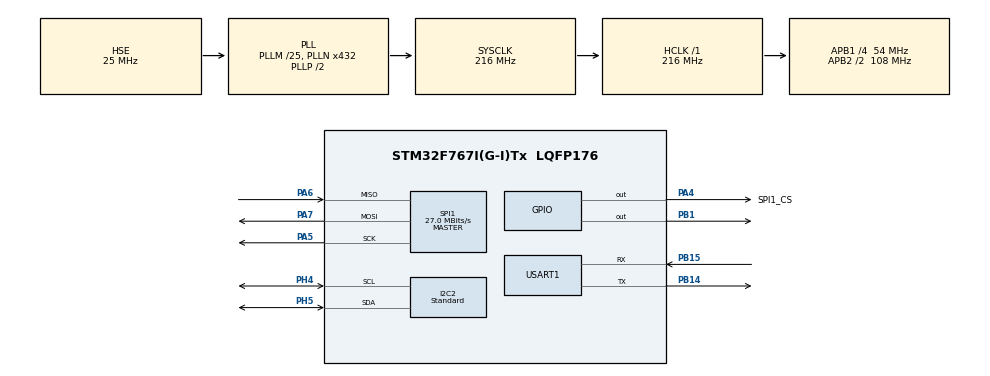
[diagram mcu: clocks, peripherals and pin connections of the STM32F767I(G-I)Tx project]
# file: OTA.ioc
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Dma.Request0=USART1_RX
Dma.USART1_RX.0.Direction=DMA_PERIPH_TO_MEMORY
Dma.USART1_RX.0.FIFOMode=DMA_FIFOMODE_DISABLE
Dma.USART1_RX.0.Instance=DMA2_Stream2
Dma.USART1_RX.0.MemDataAlignment=DMA_MDATAALIGN_BYTE
Dma.USART1_RX.0.MemInc=DMA_MINC_ENABLE
Dma.USART1_RX.0.Mode=DMA_NORMAL
Dma.USART1_RX.0.PeriphDataAlignment=DMA_PDATAALIGN_BYTE
Dma.USART1_RX.0.PeriphInc=DMA_PINC_DISABLE
Dma.USART1_RX.0.Priority=DMA_PRIORITY_LOW
I2C2.Analog_Filter=I2C_ANALOGFILTER_ENABLE
I2C2.I2C_Fall_Time=300
I2C2.I2C_Rise_Time=1000
I2C2.I2C_Speed_Mode=I2C_Standard
I2C2.Timing=0x40D32A31
Mcu.Family=STM32F7
Mcu.Name=STM32F767I(G-I)Tx
Mcu.Package=LQFP176
NVIC.DMA2_Stream2_IRQn=true\:0\:0\:false\:false\:true\:false\:true\:true
NVIC.PriorityGroup=NVIC_PRIORITYGROUP_4
NVIC.USART1_IRQn=true\:0\:0\:false\:false\:true\:true\:true\:true
PA13.Mode=Serial_Wire
PA13.Signal=SYS_JTMS-SWDIO
PA14.Mode=Serial_Wire
PA14.Signal=SYS_JTCK-SWCLK
PA4.GPIO_Label=SPI1_CS
PA4.GPIO_ModeDefaultOutputPP=GPIO_MODE_OUTPUT_PP
PA4.GPIO_PuPd=GPIO_NOPULL
PA4.GPIO_Speed=GPIO_SPEED_FREQ_VERY_HIGH
PA4.PinState=GPIO_PIN_SET
PA4.Signal=GPIO_Output
PA5.Mode=Full_Duplex_Master
PA5.Signal=SPI1_SCK
PA6.Mode=Full_Duplex_Master
PA6.Signal=SPI1_MISO
PA7.Mode=Full_Duplex_Master
PA7.Signal=SPI1_MOSI
PB1.Signal=GPIO_Output
PB14.Mode=Asynchronous
PB14.Signal=USART1_TX
PB15.Mode=Asynchronous
PB15.Signal=USART1_RX
PC14/OSC32_IN.Mode=LSE-External-Oscillator
PC14/OSC32_IN.Signal=RCC_OSC32_IN
PC15/OSC32_OUT.Mode=LSE-External-Oscillator
PC15/OSC32_OUT.Signal=RCC_OSC32_OUT
PH0/OSC_IN.Mode=HSE-External-Oscillator
PH0/OSC_IN.Signal=RCC_OSC_IN
PH1/OSC_OUT.Mode=HSE-External-Oscillator
PH1/OSC_OUT.Signal=RCC_OSC_OUT
PH4.GPIO_Pu=GPIO_PULLUP
PH4.Mode=I2C
PH4.Signal=I2C2_SCL
PH5.GPIO_Pu=GPIO_PULLUP
PH5.Mode=I2C
PH5.Signal=I2C2_SDA
ProjectManager.HeapSize=0x200
ProjectManager.StackSize=0x400
ProjectManager.TargetToolchain=MDK-ARM V5.32
RCC.AHBFreq_Value=216000000
RCC.APB1CLKDivider=RCC_HCLK_DIV4
RCC.APB1Freq_Value=54000000
RCC.APB1TimFreq_Value=108000000
RCC.APB2CLKDivider=RCC_HCLK_DIV2
RCC.APB2Freq_Value=108000000
RCC.APB2TimFreq_Value=216000000
RCC.CortexFreq_Value=216000000
RCC.HCLKFreq_Value=216000000
RCC.HSE_VALUE=25000000
RCC.HSI_VALUE=16000000
RCC.PLLM=25
RCC.PLLN=432
RCC.PLLSourceVirtual=RCC_PLLSOURCE_HSE
RCC.SYSCLKFreq_VALUE=216000000
RCC.SYSCLKSource=RCC_SYSCLKSOURCE_PLLCLK
RCC.USBFreq_Value=216000000
RCC.VCOOutputFreq_Value=432000000
SPI1.BaudRatePrescaler=SPI_BAUDRATEPRESCALER_4
SPI1.CalculateBaudRate=27.0 MBits/s
SPI1.DataSize=SPI_DATASIZE_8BIT
SPI1.Direction=SPI_DIRECTION_2LINES
SPI1.Mode=SPI_MODE_MASTER
SPI1.NSSPMode=SPI_NSS_PULSE_DISABLE
SPI1.VirtualType=VM_MASTER
USART1.VirtualMode-Asynchronous=VM_ASYNC
board=custom

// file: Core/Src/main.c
/* USER CODE BEGIN Header */
/**
  ******************************************************************************
  * @file           : main.c
  * @brief          : Main program body
  ******************************************************************************
  * @attention
  *
  * Copyright (c) 2026 STMicroelectronics.
  * All rights reserved.
  *
  * This software is licensed under terms that can be found in the LICENSE file
  * in the root directory of this software component.
  * If no LICENSE file comes with this software, it is provided AS-IS.
  *
  ******************************************************************************
  */
/* USER CODE END Header */
#include "main.h"
#include "dma.h"
#include "i2c.h"
#include "spi.h"
#include "usart.h"
#include "gpio.h"

/* USER CODE BEGIN Includes */
#include <stdio.h>
#include "circular_buf.h"
#include "bsp_at24c02.h"
#include "bsp_w25q256.h"
#include "bsp_internal_flash.h"
#include "ota.h"
#include "boot.h"
#include "system.h"
/* USER CODE END Includes */

/* USER CODE BEGIN PD */
#define AT24C02_TEST 0
#define W25Q256_TEST 0
#define INTERNAL_FLASH  0
/* USER CODE END PD */

/* USER CODE BEGIN PM */
extern circular_buf_t *Rx_Cir_BufHandle;  //串口接收环形缓冲区句柄
extern uint8_t rx_cir_buf[BUFSIZE];
extern uint8_t dma_buf[BUFSIZE];
extern UpdataAHandle_t UpdataA_CB;
/* USER CODE END PM */

/* USER CODE BEGIN PV */
uint32_t BootStaFlag = 0;
/* USER CODE END PV */

void SystemClock_Config(void);

int main(void)
{

  /* MCU Configuration--------------------------------------------------------*/

  /* Reset of all peripherals, Initializes the Flash interface and the Systick. */
  HAL_Init();

  /* Configure the system clock */
  SystemClock_Config();

  /* Initialize all configured peripherals */
  MX_GPIO_Init();
  MX_DMA_Init();
  MX_I2C2_Init();
  MX_USART1_UART_Init();
  MX_SPI1_Init();
  /* USER CODE BEGIN 2 */
  DWT_Delay_Init(); //初始化DWT
  printf("hello here is B section\r\n");

#if AT24C02_TEST
  //Bsp_At24c02_Set_OTAFlag();
  Bsp_At24c02_Reset_OTAFlag();
  //.OTA_FLAG = Bsp_At24c02_Read_OTAFlag(); //读取OTA_FLAG标志位

#endif
#if W25Q256_TEST

  HAL_Delay(100);
  Bsp_W25q64_ReadId();

  uint8_t w_data[256];
  uint8_t r_data[256];

  for (uint16_t i = 0; i < 256; i++) {
    w_data[i] = i;
  }

  Bsp_W25q256_Erasure_Sector_Multi(InterFlash_ADDR, 1); //从0x00000000开始擦除4KB
  HAL_Delay(100);
  for (uint8_t cnt = 0; cnt < 16; cnt ++) {
    Bsp_W25q256_Write_Page(InterFlash_ADDR + cnt * 256, w_data, 256);  //只能支持1页写入最多256不支持跨页写入
    HAL_Delay(10);
  }

  for (uint8_t cnt = 0; cnt < 16; cnt++) {
    Bsp_W25q256_Read_page(InterFlash_ADDR + cnt * 256, r_data, 256);
    printf("-------------page[%d]-------------\r\n", cnt);
    for (uint16_t i = 0; i < 256; i++) {
      printf("r_data[%d] = %d\r\n", i, r_data[i]);
    }
  }

#endif
#if INTERNAL_FLASH

  HAL_StatusTypeDef status;
  static const uint32_t data[1] = {0x87654321}; //32KB
  uint32_t read_data[1];

 status = Bsp_Internal_Flash_Erasure(FLASH_SECTOR_1, 1);  //擦除扇区1
 if(status == HAL_OK)
   printf("Erasure success!\r\n");

 status = Bsp_Internal_Flash_Erasure(FLASH_SECTOR_2, 1);  //擦除扇区2
 if(status == HAL_OK)
   printf("Erasure success!\r\n");

  status = Bsp_Internal_Flash_Write(0x08008020, data, 1);
  if(status == HAL_OK)
   printf("write success!\r\n");

  Bsp_Internal_Flash_Read(0x08008020, read_data, 1);

  //printf("read_data = 0x%lu\r\n", read_data[0]);//错误的%lu是打印一个长整形的十进制数
  printf("read_data = 0x%08X\r\n", read_data[0]);//%x是打印十六进制数

#endif
  Circular_Buf_Init(Rx_Cir_BufHandle, rx_cir_buf, BUFSIZE);  //初始化串口环形缓冲区
	HAL_UART_Receive_DMA(&huart1, dma_buf, BUFSIZE);//打开dma搬运

  BootLoader_Branch();

  /* USER CODE END 2 */

  /* Infinite loop */
  /* USER CODE BEGIN WHILE */
  while (1)
  {

    HAL_Delay(10);
    BootLoader_CMD();

   if (BootStaFlag & IAR_XMODEC_FLAG) {
      if (UpdataA_CB.XmodemTime >= 100) {
          printf("C");
          UpdataA_CB.XmodemTime = 0;
      }
      UpdataA_CB.XmodemTime ++;
   }

    /* USER CODE END WHILE */

  }
}

void SystemClock_Config(void)
{
  RCC_OscInitTypeDef RCC_OscInitStruct = {0};
  RCC_ClkInitTypeDef RCC_ClkInitStruct = {0};

  /** Configure LSE Drive Capability
  */
  HAL_PWR_EnableBkUpAccess();

  /** Configure the main internal regulator output voltage
  */
  __HAL_RCC_PWR_CLK_ENABLE();
  __HAL_PWR_VOLTAGESCALING_CONFIG(PWR_REGULATOR_VOLTAGE_SCALE1);

  /** Initializes the RCC Oscillators according to the specified parameters
  * in the RCC_OscInitTypeDef structure.
  */
  RCC_OscInitStruct.OscillatorType = RCC_OSCILLATORTYPE_HSE;
  RCC_OscInitStruct.HSEState = RCC_HSE_ON;
  RCC_OscInitStruct.PLL.PLLState = RCC_PLL_ON;
  RCC_OscInitStruct.PLL.PLLSource = RCC_PLLSOURCE_HSE;
  RCC_OscInitStruct.PLL.PLLM = 25;
  RCC_OscInitStruct.PLL.PLLN = 432;
  RCC_OscInitStruct.PLL.PLLP = RCC_PLLP_DIV2;
  RCC_OscInitStruct.PLL.PLLQ = 2;
  RCC_OscInitStruct.PLL.PLLR = 2;
  if (HAL_RCC_OscConfig(&RCC_OscInitStruct) != HAL_OK)
  {
    Error_Handler();
  }

  /** Activate the Over-Drive mode
  */
  if (HAL_PWREx_EnableOverDrive() != HAL_OK)
  {
    Error_Handler();
  }

  /** Initializes the CPU, AHB and APB buses clocks
  */
  RCC_ClkInitStruct.ClockType = RCC_CLOCKTYPE_HCLK|RCC_CLOCKTYPE_SYSCLK
                              |RCC_CLOCKTYPE_PCLK1|RCC_CLOCKTYPE_PCLK2;
  RCC_ClkInitStruct.SYSCLKSource = RCC_SYSCLKSOURCE_PLLCLK;
  RCC_ClkInitStruct.AHBCLKDivider = RCC_SYSCLK_DIV1;
  RCC_ClkInitStruct.APB1CLKDivider = RCC_HCLK_DIV4;
  RCC_ClkInitStruct.APB2CLKDivider = RCC_HCLK_DIV2;

  if (HAL_RCC_ClockConfig(&RCC_ClkInitStruct, FLASH_LATENCY_7) != HAL_OK)
  {
    Error_Handler();
  }
}

void Error_Handler(void)
{
  __disable_irq();
  while (1)
  {
  }
}
